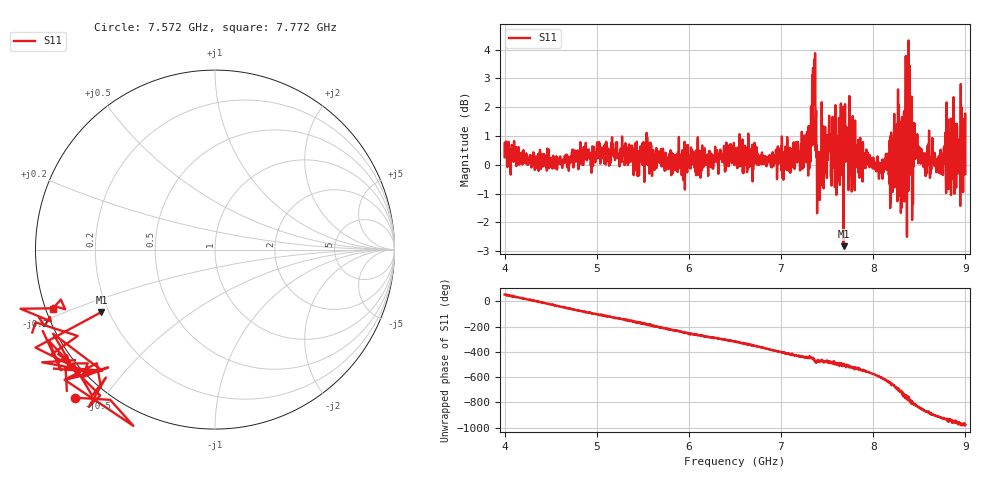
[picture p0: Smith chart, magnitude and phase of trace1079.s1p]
! Created with skrf 1.8.0 (http://scikit-rf.org).
# Hz S RI R 50.0
!freq ReS11 ImS11
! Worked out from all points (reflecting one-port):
!   1601 points, 4 GHz to 9 GHz, reference 50 ohm
!   lowest |S11| = -2.8 dB at 7.678 GHz (marker M1), VSWR 6.19, Z = 8.59 - j12.5 ohm
!   phase of S11 starts at 53 deg and turns -1031 deg over the sweep
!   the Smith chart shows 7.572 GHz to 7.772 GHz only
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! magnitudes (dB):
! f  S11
! 4 GHz  0.3
! 4.625 GHz  -0.1
! 5.25 GHz  0.1
! 5.875 GHz  0.2
! 6.5 GHz  0.2
! 7.125 GHz  0.2
! 7.297 GHz  1.2
! 7.356 GHz  3.0
! 7.412 GHz  0.4
! 7.512 GHz  0.9
! 7.591 GHz  2.1
! 7.65 GHz  2.1
! 7.678 GHz  -2.8
! 7.75 GHz  -0.1
! 8.097 GHz  0.2
! 8.191 GHz  -1.3
! 8.244 GHz  -0.3
! 8.3 GHz  -1.7
! 8.316 GHz  0.8
! 8.334 GHz  1.9
! 8.347 GHz  1.7
! 8.375 GHz  0.8
! 8.447 GHz  1.4
! 8.459 GHz  0.2
! 8.556 GHz  0.0
! 8.731 GHz  0.5
! 8.972 GHz  0.4
! 9 GHz  -0.3
